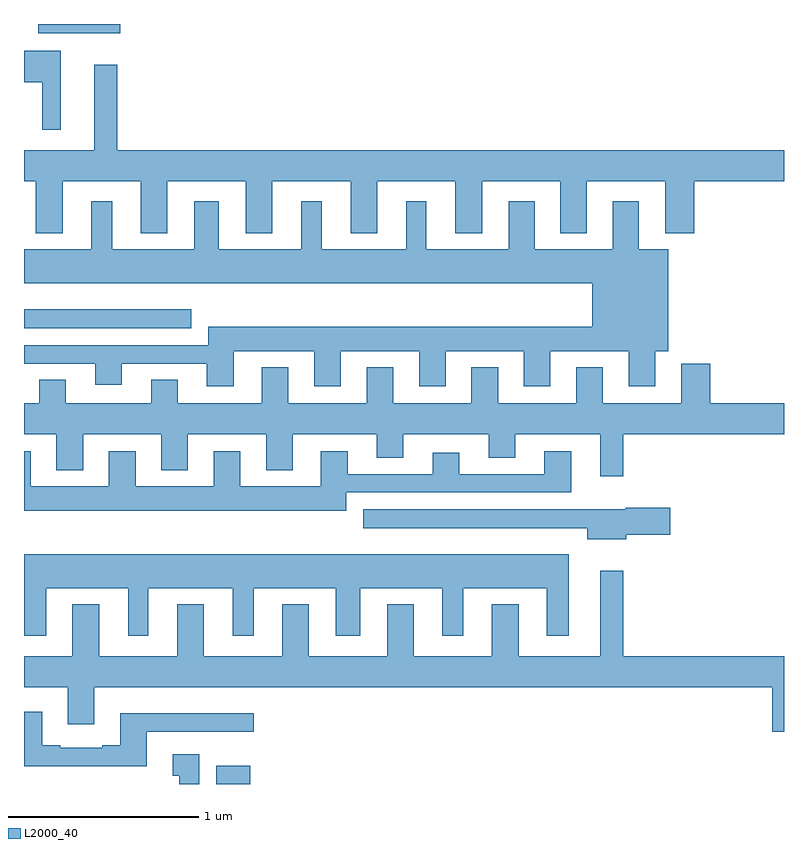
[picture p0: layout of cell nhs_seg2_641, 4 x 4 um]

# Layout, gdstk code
import gdstk
lib = gdstk.Library(unit=1e-6, precision=1e-09)
def R(c, l, rs):  # rectangles x0, y0, x1, y1
    for r in rs: c.add(gdstk.rectangle(r[:2], r[2:], *l))
def P(c, l, *ps):  # polygons
    for p in ps: c.add(gdstk.Polygon(p, *l))
L2000_40 = (2000, 40)

nhs_seg2_641 = lib.new_cell('nhs_seg2_641')
R(nhs_seg2_641, L2000_40, [(144.011,641.8,144.19,641.896), (143,644.198,143.881,644.299), (143.076,645.752,143.506,645.8)])
P(nhs_seg2_641, L2000_40, [(143.194,645.658),(143,645.658),(143,645.494),(143.096,645.494),(143.096,645.243),(143.194,645.243)],
  [(143.369,645.586),(143.369,645.136),(143,645.136),(143,644.972),(143.063,644.972),(143.063,644.699),(143.203,644.699),(143.203,644.972),(143.615,644.972),(143.615,644.699),(143.755,644.699),(143.755,644.972),(144.167,644.972),(144.167,644.699),(144.307,644.699),(144.307,644.972),(144.719,644.972),(144.719,644.699),(144.859,644.699),(144.859,644.972),(145.271,644.972),(145.271,644.699),(145.411,644.699),(145.411,644.972),(145.823,644.972),(145.823,644.699),(145.963,644.699),(145.963,644.972),(146.375,644.972),(146.375,644.699),(146.528,644.699),(146.528,644.972),(147,644.972),(147,645.136),(143.491,645.136),(143.491,645.586)],
  [(144.103,644.078),(144.527,644.078),(144.527,643.893),(144.667,643.893),(144.667,644.078),(145.079,644.078),(145.079,643.893),(145.219,643.893),(145.219,644.078),(145.631,644.078),(145.631,643.893),(145.771,643.893),(145.771,644.078),(146.183,644.078),(146.183,643.893),(146.323,643.893),(146.323,644.078),(146.392,644.078),(146.392,644.614),(146.236,644.614),(146.236,644.866),(146.099,644.866),(146.099,644.614),(145.687,644.614),(145.687,644.866),(145.55,644.866),(145.55,644.614),(145.117,644.614),(145.117,644.866),(145.013,644.866),(145.013,644.614),(144.568,644.614),(144.568,644.866),(144.458,644.866),(144.458,644.614),(144.025,644.614),(144.025,644.866),(143.897,644.866),(143.897,644.614),(143.464,644.614),(143.464,644.866),(143.354,644.866),(143.354,644.614),(143,644.614),(143,644.435),(145.991,644.435),(145.991,644.206),(143.969,644.206),(143.969,644.109),(143,644.109),(143,644.013),(143.375,644.013),(143.375,643.901),(143.515,643.901),(143.515,644.013),(143.963,644.013),(143.963,643.893),(144.103,643.893)],
  [(146.155,643.64),(147,643.64),(147,643.804),(146.612,643.804),(146.612,644.011),(146.459,644.011),(146.459,643.804),(146.047,643.804),(146.047,643.993),(145.907,643.993),(145.907,643.804),(145.495,643.804),(145.495,643.993),(145.355,643.993),(145.355,643.804),(144.943,643.804),(144.943,643.993),(144.803,643.993),(144.803,643.804),(144.391,643.804),(144.391,643.993),(144.251,643.993),(144.251,643.804),(143.809,643.804),(143.809,643.928),(143.669,643.928),(143.669,643.804),(143.221,643.804),(143.221,643.928),(143.081,643.928),(143.081,643.804),(143,643.804),(143,643.64),(143.171,643.64),(143.171,643.451),(143.311,643.451),(143.311,643.64),(143.723,643.64),(143.723,643.451),(143.863,643.451),(143.863,643.64),(144.275,643.64),(144.275,643.451),(144.415,643.451),(144.415,643.64),(144.857,643.64),(144.857,643.516),(144.997,643.516),(144.997,643.64),(145.445,643.64),(145.445,643.516),(145.585,643.516),(145.585,643.64),(146.033,643.64),(146.033,643.419),(146.155,643.419)],
  [(144.697,643.335),(145.879,643.335),(145.879,643.552),(145.739,643.552),(145.739,643.431),(145.291,643.431),(145.291,643.543),(145.151,643.543),(145.151,643.431),(144.703,643.431),(144.703,643.552),(144.563,643.552),(144.563,643.366),(144.139,643.366),(144.139,643.552),(143.999,643.552),(143.999,643.366),(143.587,643.366),(143.587,643.552),(143.447,643.552),(143.447,643.366),(143.035,643.366),(143.035,643.552),(143,643.552),(143,643.238),(144.697,643.238)],
  [(146.17,643.112),(146.401,643.112),(146.401,643.254),(146.166,643.254),(146.166,643.246),(144.786,643.246),(144.786,643.145),(145.964,643.145),(145.964,643.088),(146.17,643.088)],
  [(143.116,642.83),(143.549,642.83),(143.549,642.579),(143.653,642.579),(143.653,642.83),(144.098,642.83),(144.098,642.579),(144.208,642.579),(144.208,642.83),(144.641,642.83),(144.641,642.579),(144.769,642.579),(144.769,642.83),(145.202,642.83),(145.202,642.579),(145.312,642.579),(145.312,642.83),(145.751,642.83),(145.751,642.579),(145.867,642.579),(145.867,643.009),(143,643.009),(143,642.579),(143.116,642.579)],
  [(147,642.472),(146.155,642.472),(146.155,642.922),(146.033,642.922),(146.033,642.472),(145.603,642.472),(145.603,642.745),(145.463,642.745),(145.463,642.472),(145.051,642.472),(145.051,642.745),(144.911,642.745),(144.911,642.472),(144.499,642.472),(144.499,642.745),(144.359,642.745),(144.359,642.472),(143.947,642.472),(143.947,642.745),(143.807,642.745),(143.807,642.472),(143.395,642.472),(143.395,642.745),(143.255,642.745),(143.255,642.472),(143,642.472),(143,642.308),(143.231,642.308),(143.231,642.114),(143.371,642.114),(143.371,642.308),(146.939,642.308),(146.939,642.075),(147,642.075)],
  [(143.647,642.075),(144.208,642.075),(144.208,642.172),(143.507,642.172),(143.507,642.004),(143.411,642.004),(143.411,641.991),(143.191,641.991),(143.191,642.004),(143.095,642.004),(143.095,642.181),(143,642.181),(143,641.894),(143.647,641.894)],
  [(143.923,641.956),(143.783,641.956),(143.783,641.843),(143.816,641.843),(143.816,641.8),(143.923,641.8)])

lib.write_gds('nhs_seg2_641.gds')
